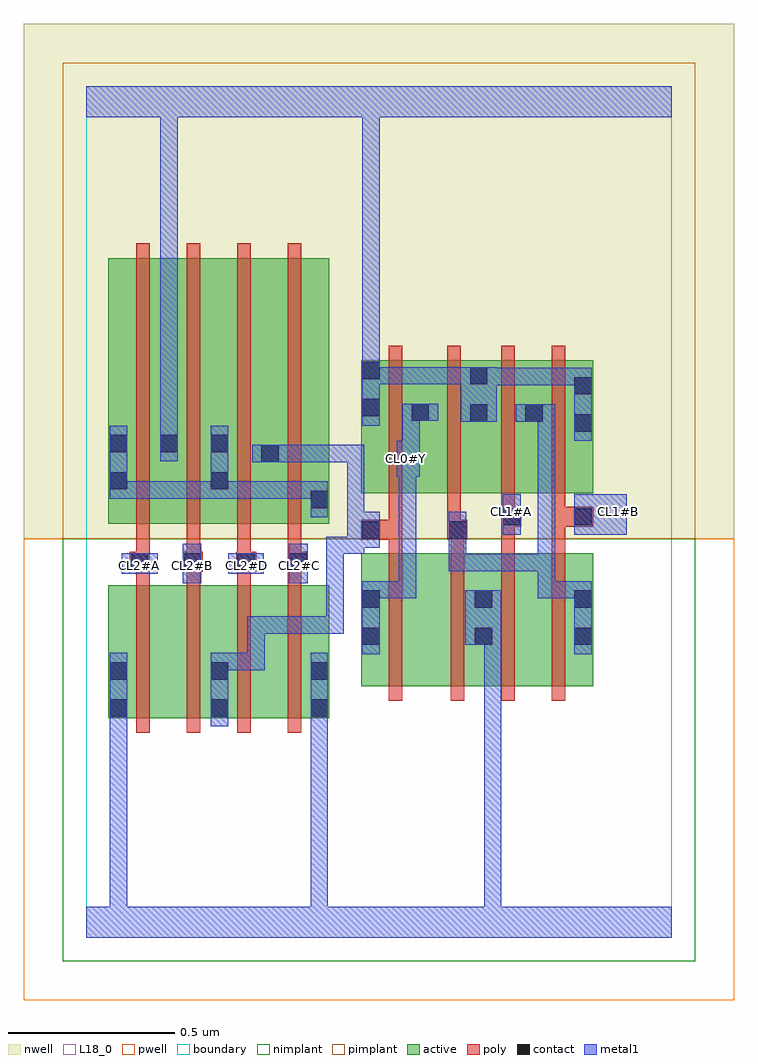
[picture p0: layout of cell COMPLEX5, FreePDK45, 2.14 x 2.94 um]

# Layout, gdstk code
import gdstk
lib = gdstk.Library(unit=1e-6, precision=1e-09)
def R(c, l, rs):  # rectangles x0, y0, x1, y1
    for r in rs: c.add(gdstk.rectangle(r[:2], r[2:], *l))
def A(c, l, x, y, w, h, nx, ny, dx, dy):  # array of equal rectangles
    R(c, l, [(x+i*dx, y+j*dy, x+i*dx+w, y+j*dy+h) for i in range(nx) for j in range(ny)])
active = (1, 0)
pwell = (2, 0)
nwell = (3, 0)
nimplant = (4, 0)
pimplant = (5, 0)
poly = (9, 0)
contact = (10, 0)
metal1 = (11, 0)
L18_0 = (18, 0)
boundary = (235, 0)

complex5 = lib.new_cell('COMPLEX5')
A(complex5, active, 0.066, 1.244, 0.06, 0.8, 4, 1, 0.152, 0)
A(complex5, active, 0.066, 1.244, 0.212, 0.8, 3, 1, 0.152, 0)
R(complex5, active, [(0.066,0.66,0.126,1.06), (0.066,0.66,0.246,1.06), (0.246,0.66,0.43,1.06), (0.37,0.66,0.55,1.06), (0.37,0.66,0.43,0.832), (0.55,0.66,0.73,1.06), (0.67,0.66,0.73,1.06), (0.826,0.756,0.886,1.156), (0.826,0.756,1.006,1.156), (1.006,0.756,1.224,1.156), (1.164,0.756,1.224,1.156), (1.164,0.756,1.344,1.156), (1.344,0.756,1.524,1.156), (1.464,0.756,1.524,1.156), (0.522,1.244,0.73,2.044), (0.67,1.244,0.73,2.044), (0.826,1.336,1.034,1.736), (0.974,1.336,1.034,1.644), (0.974,1.336,1.21,1.736), (1.15,1.336,1.376,1.736), (1.15,1.336,1.21,1.72), (1.316,1.336,1.524,1.736), (1.316,1.336,1.376,1.644), (1.464,1.336,1.524,1.69), (0.826,1.452,0.886,1.736)])
R(complex5, pwell, [(-0.188,-0.188,1.948,1.2)])
R(complex5, nwell, [(-0.188,1.2,1.948,2.748)])
R(complex5, nimplant, [(-0.072,-0.072,1.832,1.2)])
R(complex5, pimplant, [(-0.072,1.2,1.832,2.632)])
A(complex5, poly, 0.15, 0.616, 0.04, 0.488, 4, 1, 0.152, 0)
A(complex5, poly, 1.096, 0.712, 0.04, 0.488, 3, 1, 0.152, 0)
A(complex5, poly, 0.15, 1.064, 0.04, 0.076, 4, 1, 0.152, 0)
A(complex5, poly, 0.13, 1.1, 0.06, 0.06, 3, 1, 0.16, 0)
A(complex5, poly, 0.15, 1.12, 0.04, 0.12, 4, 1, 0.152, 0)
A(complex5, poly, 0.15, 1.2, 0.04, 0.888, 4, 1, 0.152, 0)
R(complex5, poly, [(0.91,0.712,0.95,1.2), (0.454,1.1,0.494,1.14), (0.454,1.1,0.494,1.14), (0.606,1.1,0.666,1.16), (0.15,1.12,0.19,1.16), (0.15,1.12,0.19,1.16), (0.302,1.12,0.342,1.16), (0.302,1.12,0.342,1.16), (0.606,1.12,0.646,1.16), (0.606,1.12,0.646,1.16), (0.91,1.16,0.95,1.236), (1.096,1.16,1.136,1.236), (1.248,1.16,1.288,1.276), (1.4,1.16,1.44,1.276), (0.826,1.196,0.95,1.256), (1.086,1.196,1.146,1.256), (0.91,1.216,0.95,1.256), (0.91,1.216,0.95,1.256), (0.91,1.216,0.95,1.332), (1.086,1.216,1.126,1.256), (1.086,1.216,1.126,1.256), (1.086,1.216,1.126,1.332), (1.248,1.236,1.288,1.276), (1.248,1.236,1.288,1.276), (1.248,1.236,1.308,1.296), (1.4,1.236,1.44,1.276), (1.4,1.236,1.44,1.276), (1.4,1.236,1.524,1.296), (1.248,1.256,1.288,1.332), (1.4,1.256,1.44,1.332), (0.91,1.292,0.95,1.78), (1.086,1.292,1.126,1.78), (1.248,1.292,1.288,1.78), (1.4,1.292,1.44,1.78)])
A(complex5, contact, 0.134, 1.104, 0.052, 0.052, 3, 1, 0.16, 0)
A(complex5, contact, 0.07, 1.46, 0.052, 0.052, 3, 1, 0.152, 0)
R(complex5, contact, [(0.07,0.664,0.122,0.716), (0.374,0.664,0.426,0.716), (0.674,0.664,0.726,0.716), (0.07,0.776,0.122,0.828), (0.374,0.776,0.426,0.828), (0.674,0.776,0.726,0.828), (0.83,0.88,0.882,0.932), (1.168,0.88,1.22,0.932), (1.468,0.88,1.52,0.932), (0.83,0.992,0.882,1.044), (1.168,0.992,1.22,1.044), (1.468,0.992,1.52,1.044), (0.61,1.104,0.662,1.156), (0.83,1.2,0.882,1.252), (1.09,1.2,1.142,1.252), (1.252,1.24,1.304,1.292), (1.468,1.24,1.52,1.292), (0.674,1.292,0.726,1.344), (0.07,1.348,0.122,1.4), (0.374,1.348,0.426,1.4), (0.526,1.43,0.578,1.482), (1.468,1.522,1.52,1.574), (1.154,1.552,1.206,1.604), (1.32,1.552,1.372,1.604), (0.978,1.554,1.03,1.606), (0.83,1.568,0.882,1.62), (1.468,1.634,1.52,1.686), (1.154,1.664,1.206,1.716), (0.83,1.68,0.882,1.732)])
R(complex5, metal1, [(0,0,1.76,0.092), (0.07,0.04,0.122,0.092), (0.07,0.04,0.122,0.092), (0.07,0.04,0.122,0.092), (0.07,0.04,0.122,0.092), (0.07,0.04,0.122,0.092), (0.07,0.04,0.122,0.092), (0.07,0.04,0.122,0.092), (0.07,0.04,0.122,0.092), (0.07,0.04,0.122,0.092), (0.07,0.04,0.122,0.092), (0.07,0.04,0.122,0.092), (0.07,0.04,0.122,0.092), (0.07,0.04,0.122,0.688), (0.674,0.04,0.726,0.092), (0.674,0.04,0.726,0.092), (0.674,0.04,0.726,0.092), (0.674,0.04,0.726,0.092), (0.674,0.04,0.726,0.092), (0.674,0.04,0.726,0.092), (0.674,0.04,0.726,0.092), (0.674,0.04,0.726,0.092), (0.674,0.04,0.726,0.092), (0.674,0.04,0.726,0.092), (0.674,0.04,0.726,0.092), (0.674,0.04,0.726,0.092), (0.674,0.04,0.726,0.688), (1.196,0.04,1.248,0.092), (1.196,0.04,1.248,0.092), (1.196,0.04,1.248,0.092), (1.196,0.04,1.248,0.092), (1.196,0.04,1.248,0.932), (0.07,0.636,0.122,0.856), (0.374,0.636,0.426,0.856), (0.674,0.636,0.726,0.856), (0.374,0.804,0.536,0.856), (0.484,0.804,0.536,0.966), (0.83,0.852,0.882,1.072), (1.468,0.852,1.52,1.072), (1.14,0.88,1.248,1.044), (1.196,0.88,1.248,0.932), (1.196,0.88,1.248,0.932), (1.196,0.88,1.248,0.932), (1.196,0.88,1.248,0.932), (1.196,0.88,1.248,0.932), (1.196,0.88,1.248,0.932), (1.196,0.88,1.248,0.932), (1.196,0.88,1.248,0.932), (0.484,0.914,0.536,0.966), (0.484,0.914,0.536,0.966), (0.484,0.914,0.726,0.966), (0.674,0.914,0.726,0.966), (0.674,0.914,0.774,0.966), (0.722,0.914,0.774,0.966), (0.722,0.914,0.774,1.206), (0.83,1.02,0.992,1.072), (0.94,1.02,0.992,1.072), (0.94,1.02,0.992,1.072), (0.94,1.02,0.992,1.072), (0.94,1.02,0.992,1.438), (1.358,1.02,1.41,1.072), (1.358,1.02,1.52,1.072), (1.358,1.02,1.41,1.154), (1.468,1.02,1.52,1.072), (1.468,1.02,1.52,1.072), (0.29,1.066,0.346,1.184), (0.61,1.066,0.666,1.184), (0.106,1.094,0.214,1.156), (0.426,1.094,0.534,1.156), (1.09,1.102,1.41,1.154), (1.09,1.102,1.142,1.224), (1.358,1.102,1.41,1.154), (1.358,1.102,1.41,1.154), (1.358,1.102,1.41,1.154), (1.358,1.102,1.41,1.154), (1.358,1.102,1.41,1.154), (1.358,1.102,1.41,1.604), (0.722,1.154,0.774,1.206), (0.722,1.154,0.836,1.206), (0.784,1.154,0.836,1.224), (0.784,1.172,0.836,1.224), (0.784,1.172,0.836,1.224), (0.784,1.172,0.836,1.224), (0.784,1.172,0.836,1.224), (0.784,1.172,0.882,1.224), (0.784,1.172,0.836,1.482), (0.83,1.172,0.882,1.28), (1.09,1.172,1.142,1.224), (1.09,1.172,1.142,1.28), (1.252,1.212,1.306,1.334), (1.468,1.212,1.626,1.334), (0.674,1.264,0.726,1.372), (0.07,1.32,0.122,1.372), (0.07,1.32,0.122,1.372), (0.07,1.32,0.122,1.54), (0.07,1.32,0.232,1.372), (0.18,1.32,0.232,1.372), (0.18,1.32,0.232,1.372), (0.18,1.32,0.232,1.372), (0.18,1.32,0.426,1.372), (0.374,1.32,0.426,1.54), (0.374,1.32,0.536,1.372), (0.484,1.32,0.536,1.372), (0.484,1.32,0.536,1.372), (0.484,1.32,0.536,1.372), (0.484,1.32,0.726,1.372), (0.674,1.32,0.726,1.372), (0.674,1.32,0.726,1.372), (0.934,1.386,1.002,1.494), (0.498,1.43,0.606,1.482), (0.554,1.43,0.716,1.482), (0.664,1.43,0.716,1.482), (0.664,1.43,0.716,1.482), (0.664,1.43,0.716,1.482), (0.664,1.43,0.836,1.482), (0.784,1.43,0.836,1.482), (0.222,1.432,0.274,1.54), (0.95,1.442,1.002,1.494), (0.95,1.442,1.002,1.494), (0.95,1.442,1.002,1.606), (0.222,1.488,0.274,1.54), (0.222,1.488,0.274,1.54), (0.222,1.488,0.274,1.54), (0.222,1.488,0.274,1.54), (0.222,1.488,0.274,1.54), (0.222,1.488,0.274,1.54), (0.222,1.488,0.274,2.52), (1.468,1.494,1.52,1.714), (0.83,1.54,0.882,1.76), (1.126,1.552,1.234,1.716), (1.292,1.552,1.41,1.604), (0.95,1.554,1.058,1.606), (1.182,1.662,1.344,1.714), (1.292,1.662,1.344,1.714), (1.292,1.662,1.344,1.714), (1.292,1.662,1.344,1.714), (1.292,1.662,1.52,1.714), (1.468,1.662,1.52,1.714), (1.468,1.662,1.52,1.714), (0.83,1.664,1.032,1.716), (0.98,1.664,1.032,1.716), (0.98,1.664,1.032,1.716), (0.98,1.664,1.032,1.716), (0.98,1.664,1.178,1.716), (1.126,1.664,1.178,1.716), (1.126,1.664,1.178,1.716), (0.83,1.708,0.882,1.76), (0.83,1.708,0.882,1.76), (0.83,1.708,0.882,1.76), (0.83,1.708,0.882,1.76), (0.83,1.708,0.882,1.76), (0.83,1.708,0.882,1.76), (0.83,1.708,0.882,1.76), (0.83,1.708,0.882,1.76), (0.83,1.708,0.882,1.76), (0.83,1.708,0.882,1.76), (0.83,1.708,0.882,1.76), (0.83,1.708,0.882,1.76), (0.83,1.708,0.882,1.76), (0.83,1.708,0.882,1.76), (0.83,1.708,0.882,2.52), (0,2.468,1.76,2.56), (0.222,2.468,0.274,2.52), (0.222,2.468,0.274,2.52), (0.83,2.468,0.882,2.52), (0.83,2.468,0.882,2.52)])
A(complex5, L18_0, 0.134, 1.094, 0.052, 0.052, 4, 1, 0.16, 0)
R(complex5, L18_0, [(0,0,1.76,0.092), (0.07,0.04,0.122,0.092), (0.07,0.04,0.122,0.092), (0.07,0.04,0.122,0.092), (0.07,0.04,0.122,0.092), (0.07,0.04,0.122,0.092), (0.07,0.04,0.122,0.092), (0.07,0.04,0.122,0.092), (0.07,0.04,0.122,0.092), (0.07,0.04,0.122,0.092), (0.07,0.04,0.122,0.092), (0.07,0.04,0.122,0.092), (0.07,0.04,0.122,0.092), (0.07,0.04,0.122,0.688), (0.674,0.04,0.726,0.092), (0.674,0.04,0.726,0.092), (0.674,0.04,0.726,0.092), (0.674,0.04,0.726,0.092), (0.674,0.04,0.726,0.092), (0.674,0.04,0.726,0.092), (0.674,0.04,0.726,0.092), (0.674,0.04,0.726,0.092), (0.674,0.04,0.726,0.092), (0.674,0.04,0.726,0.092), (0.674,0.04,0.726,0.092), (0.674,0.04,0.726,0.092), (0.674,0.04,0.726,0.688), (1.196,0.04,1.248,0.092), (1.196,0.04,1.248,0.092), (1.196,0.04,1.248,0.092), (1.196,0.04,1.248,0.092), (1.196,0.04,1.248,0.932), (0.07,0.636,0.122,0.856), (0.674,0.636,0.726,0.856), (0.83,0.852,0.882,1.072), (1.14,0.88,1.248,1.044), (1.196,0.88,1.248,0.932), (1.196,0.88,1.248,0.932), (1.196,0.88,1.248,0.932), (1.196,0.88,1.248,0.932), (1.196,0.88,1.248,0.932), (1.196,0.88,1.248,0.932), (1.196,0.88,1.248,0.932), (1.196,0.88,1.248,0.932), (0.83,1.02,0.992,1.072), (0.94,1.02,0.992,1.072), (0.94,1.02,0.992,1.072), (0.94,1.02,0.992,1.072), (0.94,1.02,0.992,1.438), (0.29,1.066,0.346,1.184), (0.61,1.066,0.666,1.184), (0.106,1.094,0.214,1.156), (0.426,1.094,0.534,1.156), (1.252,1.212,1.306,1.334), (1.468,1.212,1.626,1.334), (1.254,1.254,1.306,1.306), (1.574,1.254,1.626,1.306), (0.934,1.386,1.002,1.494), (0.934,1.414,0.986,1.466), (0.222,1.432,0.274,1.54), (0.95,1.442,1.002,1.494), (0.95,1.442,1.002,1.494), (0.95,1.442,1.002,1.606), (0.222,1.488,0.274,1.54), (0.222,1.488,0.274,1.54), (0.222,1.488,0.274,1.54), (0.222,1.488,0.274,1.54), (0.222,1.488,0.274,1.54), (0.222,1.488,0.274,1.54), (0.222,1.488,0.274,2.52), (1.468,1.494,1.52,1.714), (0.83,1.54,0.882,1.76), (1.126,1.552,1.234,1.716), (0.95,1.554,1.058,1.606), (1.182,1.662,1.344,1.714), (1.292,1.662,1.344,1.714), (1.292,1.662,1.344,1.714), (1.292,1.662,1.344,1.714), (1.292,1.662,1.52,1.714), (1.468,1.662,1.52,1.714), (1.468,1.662,1.52,1.714), (0.83,1.664,1.032,1.716), (0.98,1.664,1.032,1.716), (0.98,1.664,1.032,1.716), (0.98,1.664,1.032,1.716), (0.98,1.664,1.178,1.716), (1.126,1.664,1.178,1.716), (1.126,1.664,1.178,1.716), (0.83,1.708,0.882,1.76), (0.83,1.708,0.882,1.76), (0.83,1.708,0.882,1.76), (0.83,1.708,0.882,1.76), (0.83,1.708,0.882,1.76), (0.83,1.708,0.882,1.76), (0.83,1.708,0.882,1.76), (0.83,1.708,0.882,1.76), (0.83,1.708,0.882,1.76), (0.83,1.708,0.882,1.76), (0.83,1.708,0.882,1.76), (0.83,1.708,0.882,1.76), (0.83,1.708,0.882,1.76), (0.83,1.708,0.882,1.76), (0.83,1.708,0.882,2.52), (0,2.468,1.76,2.56), (0.222,2.468,0.274,2.52), (0.222,2.468,0.274,2.52), (0.83,2.468,0.882,2.52), (0.83,2.468,0.882,2.52)])
R(complex5, boundary, [(0,0,1.76,2.56)])
complex5.add(gdstk.Label('CL0#Y', (0.96,1.44), layer=11, texttype=0))
complex5.add(gdstk.Label('CL1#A', (1.28,1.28), layer=11, texttype=0))
complex5.add(gdstk.Label('CL1#B', (1.6,1.28), layer=11, texttype=0))
complex5.add(gdstk.Label('CL2#A', (0.16,1.12), layer=11, texttype=0))
complex5.add(gdstk.Label('CL2#B', (0.32,1.12), layer=11, texttype=0))
complex5.add(gdstk.Label('CL2#C', (0.64,1.12), layer=11, texttype=0))
complex5.add(gdstk.Label('CL2#D', (0.48,1.12), layer=11, texttype=0))

lib.write_gds('COMPLEX5.gds')
